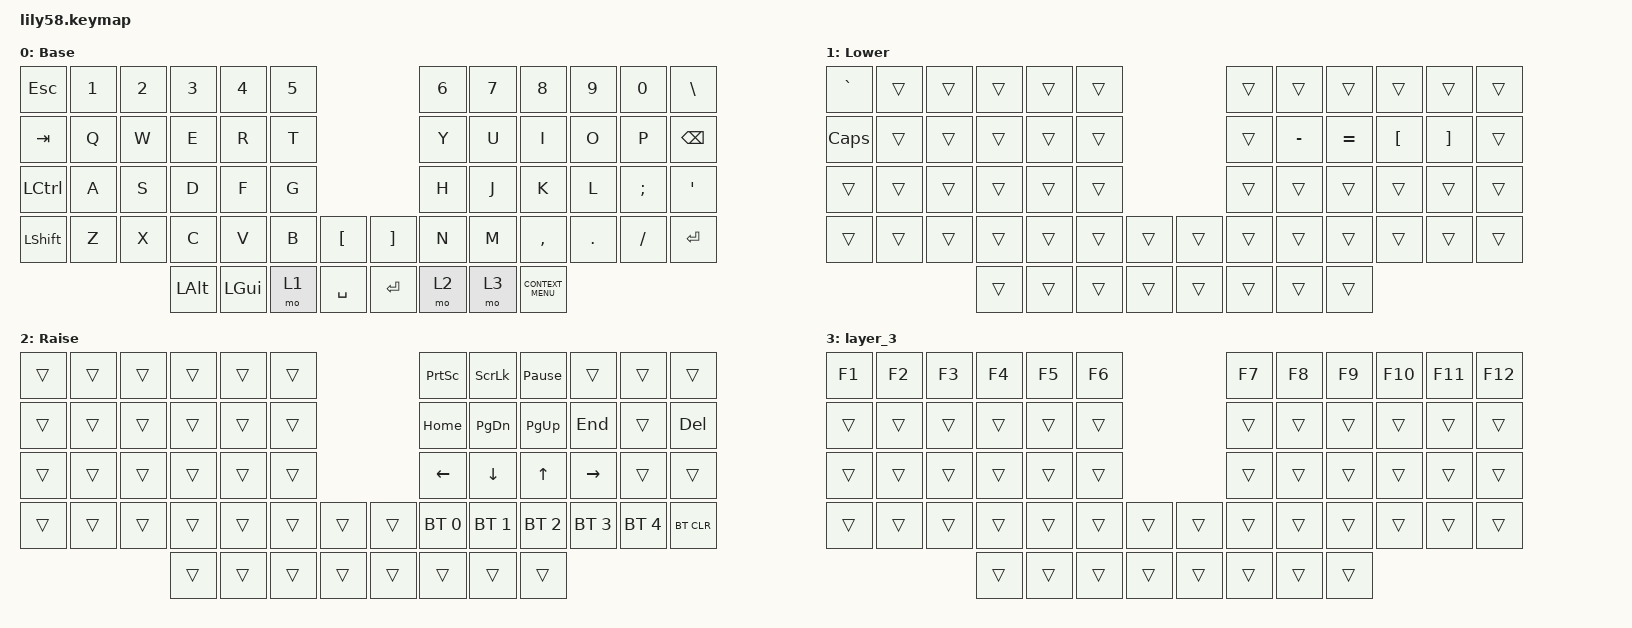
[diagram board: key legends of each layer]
/*
 * Copyright (c) 2020 The ZMK Contributors
 *
 * SPDX-License-Identifier: MIT
 */

#include <behaviors.dtsi>
#include <dt-bindings/zmk/bt.h>
#include <dt-bindings/zmk/keys.h>

/ {
    keymap {
        compatible = "zmk,keymap";

        default_layer {
            // ------------------------------------------------------------------------------------------------------------
            // |  ESC  |  1  |  2  |  3   |  4   |  5   |                   |  6   |  7    |  8    |  9   |   0   |   `   |
            // |  TAB  |  Q  |  W  |  E   |  R   |  T   |                   |  Y   |  U    |  I    |  O   |   P   |   -   |
            // |  CTRL |  A  |  S  |  D   |  F   |  G   |                   |  H   |  J    |  K    |  L   |   ;   |   '   |
            // | SHIFT |  Z  |  X  |  C   |  V   |  B   |   "["  |  |  "]"  |  N   |  M    |  ,    |  .   |   /   | SHIFT |
            //                     | ALT  | GUI  | LOWER|  SPACE |  | ENTER | RAISE| BSPC  | GUI   |

            label = "Base";
            bindings = <
&kp ESC    &kp N1  &kp N2  &kp N3    &kp N4    &kp N5                         &kp N6  &kp N7  &kp N8              &kp N9   &kp N0    &kp BACKSLASH
&kp TAB    &kp Q   &kp W   &kp E     &kp R     &kp T                          &kp Y   &kp U   &kp I               &kp O    &kp P     &kp BACKSPACE
&kp LCTRL  &kp A   &kp S   &kp D     &kp F     &kp G                          &kp H   &kp J   &kp K               &kp L    &kp SEMI  &kp SQT
&kp LSHFT  &kp Z   &kp X   &kp C     &kp V     &kp B   &kp LBKT     &kp RBKT  &kp N   &kp M   &kp COMMA           &kp DOT  &kp FSLH  &kp ENTER
                           &kp LALT  &kp LGUI  &mo 1   &kp SPACE    &kp RET   &mo 2   &mo 3   &kp K_CONTEXT_MENU
            >;
        };

        lower_layer {
            // ------------------------------------------------------------------------------------------------------------
            // | BTCLR | BT1 | BT2 |  BT3 |  BT4 |  BT5 |                   |      |       |       |      |       |       |
            // |  F1   |  F2 |  F3 |  F4  |  F5  |  F6  |                   |  F7  |  F8   |  F9   |  F10 |  F11  |  F12  |
            // |   `   |  !  |  @  |  #   |  $   |  %   |                   |  ^   |  &    |  *    |  (   |   )   |   ~   |
            // |       |     |     |      |      |      |        |  |       |      |  _    |  +    |  {   |   }   |  "|"  |
            //                     |      |      |      |        |  |       |      |       |       |

            label = "Lower";
            bindings = <
&kp GRAVE     &trans  &trans  &trans  &trans  &trans                    &trans  &trans     &trans     &trans            &trans             &trans
&kp CAPSLOCK  &trans  &trans  &trans  &trans  &trans                    &trans  &kp MINUS  &kp EQUAL  &kp LEFT_BRACKET  &kp RIGHT_BRACKET  &trans
&trans        &trans  &trans  &trans  &trans  &trans                    &trans  &trans     &trans     &trans            &trans             &trans
&trans        &trans  &trans  &trans  &trans  &trans  &trans    &trans  &trans  &trans     &trans     &trans            &trans             &trans
                              &trans  &trans  &trans  &trans    &trans  &trans  &trans     &trans
            >;
        };

        raise_layer {
            // ------------------------------------------------------------------------------------------------------------
            // |       |     |     |      |      |      |                   |      |       |       |      |       |       |
            // |   `   |  1  |  2  |  3   |  4   |  5   |                   |  6   |   7   |   8   |  9   |   0   |       |
            // |   F1  |  F2 |  F3 |  F4  |  F5  |  F6  |                   |      |   <-  |   v   |  ^   |  ->   |       |
            // |   F7  |  F8 |  F9 |  F10 |  F11 |  F12 |        |  |       |  +   |   -   |   =   |  [   |   ]   |   \   |
            //                     |      |      |      |        |  |       |      |       |       |

            label = "Raise";
            bindings = <
&trans  &trans  &trans  &trans  &trans  &trans                    &kp PRINTSCREEN  &kp SCROLLLOCK  &kp PAUSE_BREAK  &trans        &trans        &trans
&trans  &trans  &trans  &trans  &trans  &trans                    &kp HOME         &kp PAGE_DOWN   &kp PAGE_UP      &kp END       &trans        &kp DELETE
&trans  &trans  &trans  &trans  &trans  &trans                    &kp LEFT         &kp DOWN        &kp UP           &kp RIGHT     &trans        &trans
&trans  &trans  &trans  &trans  &trans  &trans  &trans    &trans  &bt BT_SEL 0     &bt BT_SEL 1    &bt BT_SEL 2     &bt BT_SEL 3  &bt BT_SEL 4  &bt BT_CLR
                        &trans  &trans  &trans  &trans    &trans  &trans           &trans          &trans
            >;
        };

        layer_3 {
            bindings = <
&kp F1  &kp F2  &kp F3  &kp F4  &kp F5  &kp F6                    &kp F7  &kp F8  &kp F9  &kp F10  &kp F11  &kp F12
&trans  &trans  &trans  &trans  &trans  &trans                    &trans  &trans  &trans  &trans   &trans   &trans
&trans  &trans  &trans  &trans  &trans  &trans                    &trans  &trans  &trans  &trans   &trans   &trans
&trans  &trans  &trans  &trans  &trans  &trans  &trans    &trans  &trans  &trans  &trans  &trans   &trans   &trans
                        &trans  &trans  &trans  &trans    &trans  &trans  &trans  &trans
            >;
        };
    };
};
